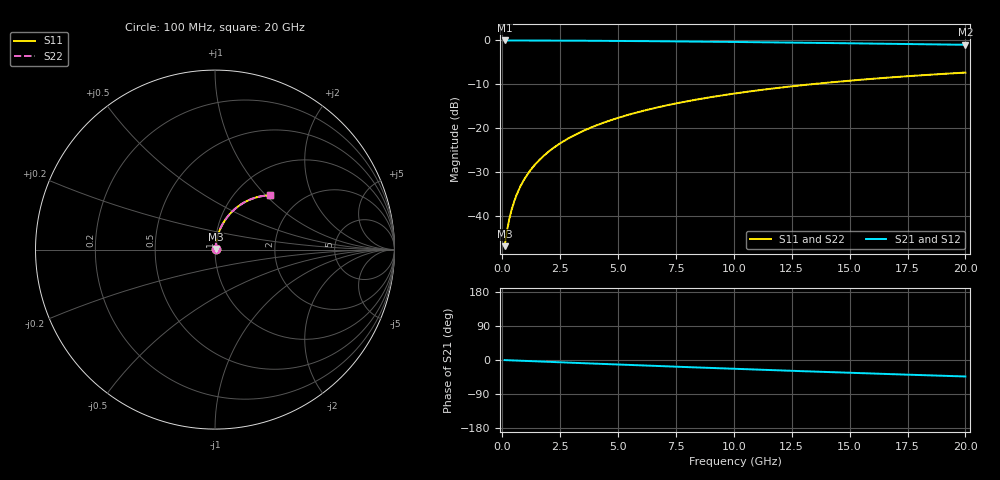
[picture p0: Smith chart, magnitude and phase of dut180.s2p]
! Touchstone file exported from HFSS 2026.1.0
!  File:  C:/ffzhzh/LocalFiles/Ansys_Project_Files/temp_train_BSMRDL_180_1782987192_6248.aedt
!  Generated:  06:15:28 PM Jul  2, 2026
!  Design:  BSMRDL
!  Project:  temp_train_BSMRDL_180_1782987192_6248
! Variables:
!  h_bsmrdl = 4.98um
!  h_ox = 20um
!  h_rdl = 5um
!  h_sub = 80um
!  h_tmrdl = 5um
!  h_tsv = 80um
!  h_via = 3um
!  l_bsmrdl = 634.13um
!  l_sub = 1034.13um
!  l_tmrdl = 200um
!  m_sub = 200um
!  pitch = 39.32um
!  r_tsv = 6um
!  s_tmrdl = 10um
!  w_bsmrdl = 12.93um
!  w_sub = 500um
!  w_tmrdl = 12um
!  x_tsv_center1 = 206um
!  x_tsv_center2 = 853.06um
!  x_tsv_center3 = 1065.06um
!  x_tsv_center4 = 1712.12um
!  x_tsv_center5 = 1924.12um
!  x_tsv_center6 = 2571.18um
# GHz S MA R 50.000000
! Terminal data exported
! Port[1] = BSM_RDL1_1_T1
! Port[2] = BSM_RDL1_1_T2
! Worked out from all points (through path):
!   200 points, 100 MHz to 20 GHz, reference 50 ohm
!   highest |S21| = -0.03 dB at 100 MHz (marker M1); lowest = -1.0 dB at 20 GHz (marker M2)
!   group delay of S21, straight-line fit = 6.04 ps
!   lowest |S11| = -46.8 dB at 100 MHz (marker M3), VSWR 1.01, Z = 50.4 + j0.285 ohm
!   |S11| at or under -10 dB: start of sweep to 13.35 GHz
!   |S22| runs from -46.8 to -7.3 dB; largest |S21 - S12| = 2e-15
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0.1  0.004546 38.5  0.9965 -0.3  0.9965 -0.3  0.004546 38.5
! Gamma 0 0 0 0
! Port Impedance 50 0 50 0
0.2  0.006715 56.7  0.9963 -0.5  0.9963 -0.5  0.006715 56.7
0.3  0.009186 65.2  0.9962 -0.7  0.9962 -0.7  0.009186 65.2
0.4  0.01174 70.0  0.9961 -1.0  0.9961 -1.0  0.01174 70.0
0.5  0.01434 73.0  0.996 -1.2  0.996 -1.2  0.01434 73.0
0.6  0.01695 75.0  0.9959 -1.5  0.9959 -1.5  0.01695 75.0
0.8  0.02223 77.5  0.9957 -2.0  0.9957 -2.0  0.02223 77.5
1.1  0.03019 79.3  0.9953 -2.7  0.9953 -2.7  0.03019 79.3
1.5  0.04084 80.1  0.9947 -3.6  0.9947 -3.6  0.04084 80.1
1.8  0.04881 80.2  0.9942 -4.4  0.9942 -4.4  0.04881 80.2
2.1  0.05675 80.0  0.9936 -5.1  0.9936 -5.1  0.05675 80.0
2.7  0.07252 79.3  0.9921 -6.5  0.9921 -6.5  0.07252 79.3
3.5  0.09326 77.9  0.9897 -8.4  0.9897 -8.4  0.09326 77.9
4.2  0.1111 76.5  0.9872 -10.1  0.9872 -10.1  0.1111 76.5
5  0.1311 74.9  0.984 -11.9  0.984 -11.9  0.1311 74.9
5.9  0.1532 73.0  0.9801 -14.0  0.9801 -14.0  0.1532 73.0
6.8  0.1748 71.1  0.9758 -16.0  0.9758 -16.0  0.1748 71.1
8.3  0.2097 67.9  0.968 -19.4  0.968 -19.4  0.2097 67.9
10.1  0.2496 64.1  0.9576 -23.4  0.9576 -23.4  0.2497 64.1
13.4  0.3173 57.4  0.9363 -30.4  0.9363 -30.4  0.3173 57.4
16.7  0.3772 51.0  0.9132 -37.1  0.9132 -37.1  0.3773 50.9
20  0.4293 44.8  0.8898 -43.5  0.8898 -43.5  0.4293 44.7
